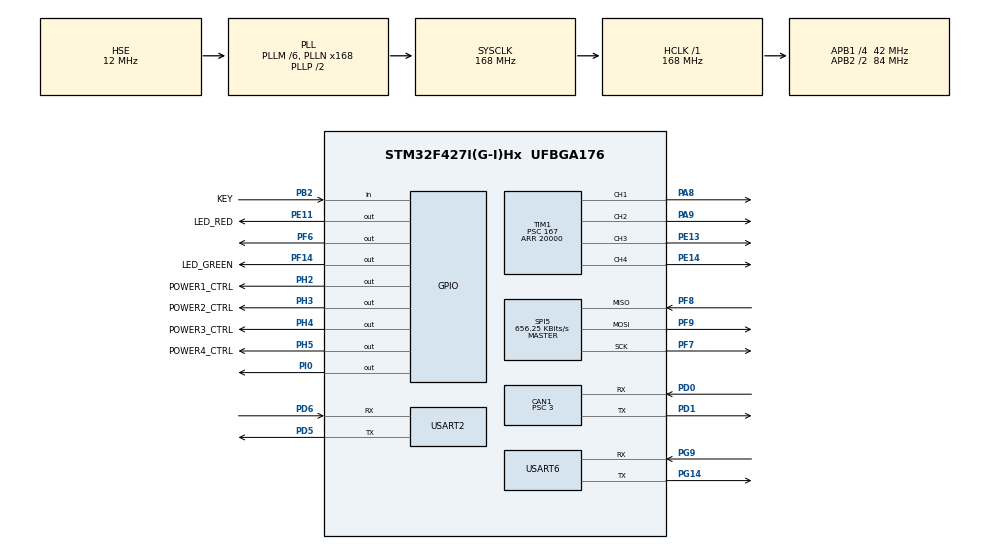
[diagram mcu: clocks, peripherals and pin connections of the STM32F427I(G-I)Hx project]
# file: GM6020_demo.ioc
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CAN1.ABOM=ENABLE
CAN1.BS1=CAN_BS1_9TQ
CAN1.BS2=CAN_BS2_4TQ
CAN1.CalculateTimeQuantum=71.42857142857143
CAN1.NART=DISABLE
CAN1.Prescaler=3
CAN1.SJW=CAN_SJW_1TQ
Dma.Request0=USART2_RX
Dma.Request1=USART2_TX
Dma.USART2_RX.0.Direction=DMA_PERIPH_TO_MEMORY
Dma.USART2_RX.0.FIFOMode=DMA_FIFOMODE_DISABLE
Dma.USART2_RX.0.Instance=DMA1_Stream5
Dma.USART2_RX.0.MemDataAlignment=DMA_MDATAALIGN_BYTE
Dma.USART2_RX.0.MemInc=DMA_MINC_ENABLE
Dma.USART2_RX.0.Mode=DMA_NORMAL
Dma.USART2_RX.0.PeriphDataAlignment=DMA_PDATAALIGN_BYTE
Dma.USART2_RX.0.PeriphInc=DMA_PINC_DISABLE
Dma.USART2_RX.0.Priority=DMA_PRIORITY_LOW
Dma.USART2_TX.1.Direction=DMA_MEMORY_TO_PERIPH
Dma.USART2_TX.1.FIFOMode=DMA_FIFOMODE_DISABLE
Dma.USART2_TX.1.Instance=DMA1_Stream6
Dma.USART2_TX.1.MemDataAlignment=DMA_MDATAALIGN_BYTE
Dma.USART2_TX.1.MemInc=DMA_MINC_ENABLE
Dma.USART2_TX.1.Mode=DMA_NORMAL
Dma.USART2_TX.1.PeriphDataAlignment=DMA_PDATAALIGN_BYTE
Dma.USART2_TX.1.PeriphInc=DMA_PINC_DISABLE
Dma.USART2_TX.1.Priority=DMA_PRIORITY_LOW
Mcu.Family=STM32F4
Mcu.Name=STM32F427I(G-I)Hx
Mcu.Package=UFBGA176
NVIC.CAN1_RX0_IRQn=true\:0\:0\:false\:false\:true\:true
NVIC.CAN1_TX_IRQn=true\:0\:0\:false\:false\:true\:true
NVIC.DMA1_Stream5_IRQn=true\:0\:0\:false\:false\:true\:false
NVIC.DMA1_Stream6_IRQn=true\:0\:0\:false\:false\:true\:false
NVIC.PriorityGroup=NVIC_PRIORITYGROUP_4
NVIC.TIM2_IRQn=true\:0\:0\:false\:false\:true\:true
NVIC.TIM3_IRQn=true\:0\:0\:false\:false\:true\:true
NVIC.USART2_IRQn=true\:0\:0\:false\:false\:true\:true
NVIC.USART6_IRQn=true\:0\:0\:false\:false\:true\:true
PA13.Mode=Serial_Wire
PA13.Signal=SYS_JTMS-SWDIO
PA14.Mode=Serial_Wire
PA14.Signal=SYS_JTCK-SWCLK
PA8.Signal=S_TIM1_CH1
PA9.Signal=S_TIM1_CH2
PB2/BOOT1.GPIO_Label=KEY
PB2/BOOT1.Signal=GPIO_Input
PD0.Mode=Master
PD0.Signal=CAN1_RX
PD1.Mode=Master
PD1.Signal=CAN1_TX
PD5.Mode=Asynchronous
PD5.Signal=USART2_TX
PD6.Mode=Asynchronous
PD6.Signal=USART2_RX
PE11.GPIO_Label=LED_RED
PE11.Signal=GPIO_Output
PE13.Signal=S_TIM1_CH3
PE14.Signal=S_TIM1_CH4
PF14.GPIO_Label=LED_GREEN
PF14.Signal=GPIO_Output
PF6.Signal=GPIO_Output
PF7.Mode=Full_Duplex_Master
PF7.Signal=SPI5_SCK
PF8.Mode=Full_Duplex_Master
PF8.Signal=SPI5_MISO
PF9.Mode=Full_Duplex_Master
PF9.Signal=SPI5_MOSI
PG14.Mode=Asynchronous
PG14.Signal=USART6_TX
PG9.Mode=Asynchronous
PG9.Signal=USART6_RX
PH0/OSC_IN.Mode=HSE-External-Oscillator
PH0/OSC_IN.Signal=RCC_OSC_IN
PH1/OSC_OUT.Mode=HSE-External-Oscillator
PH1/OSC_OUT.Signal=RCC_OSC_OUT
PH2.GPIO_Label=POWER1_CTRL
PH2.Signal=GPIO_Output
PH3.GPIO_Label=POWER2_CTRL
PH3.Signal=GPIO_Output
PH4.GPIO_Label=POWER3_CTRL
PH4.Signal=GPIO_Output
PH5.GPIO_Label=POWER4_CTRL
PH5.Signal=GPIO_Output
PI0.GPIO_Speed=GPIO_SPEED_FREQ_HIGH
PI0.Signal=GPIO_Output
ProjectManager.HeapSize=0x200
ProjectManager.StackSize=0x400
ProjectManager.TargetToolchain=MDK-ARM V5
RCC.48MHZClocksFreq_Value=84000000
RCC.AHBFreq_Value=168000000
RCC.APB1CLKDivider=RCC_HCLK_DIV4
RCC.APB1Freq_Value=42000000
RCC.APB1TimFreq_Value=84000000
RCC.APB2CLKDivider=RCC_HCLK_DIV2
RCC.APB2Freq_Value=84000000
RCC.APB2TimFreq_Value=168000000
RCC.CortexFreq_Value=168000000
RCC.HCLKFreq_Value=168000000
RCC.HSE_VALUE=12000000
RCC.HSI_VALUE=16000000
RCC.LSE_VALUE=32768
RCC.PLLM=6
RCC.PLLN=168
RCC.PLLSourceVirtual=RCC_PLLSOURCE_HSE
RCC.SYSCLKFreq_VALUE=168000000
RCC.SYSCLKSource=RCC_SYSCLKSOURCE_PLLCLK
RCC.VCOOutputFreq_Value=336000000
SH.S_TIM1_CH1.0=TIM1_CH1,PWM Generation1 CH1
SH.S_TIM1_CH2.0=TIM1_CH2,PWM Generation2 CH2
SH.S_TIM1_CH3.0=TIM1_CH3,PWM Generation3 CH3
SH.S_TIM1_CH4.0=TIM1_CH4,PWM Generation4 CH4
SPI5.BaudRatePrescaler=SPI_BAUDRATEPRESCALER_128
SPI5.CalculateBaudRate=656.25 KBits/s
SPI5.Direction=SPI_DIRECTION_2LINES
SPI5.Mode=SPI_MODE_MASTER
SPI5.VirtualType=VM_MASTER
TIM1.Channel-PWM\ Generation1\ CH1=TIM_CHANNEL_1
TIM1.Channel-PWM\ Generation2\ CH2=TIM_CHANNEL_2
TIM1.Channel-PWM\ Generation3\ CH3=TIM_CHANNEL_3
TIM1.Channel-PWM\ Generation4\ CH4=TIM_CHANNEL_4
TIM1.Period=20000
TIM1.Prescaler=167
TIM1.Pulse-PWM\ Generation1\ CH1=1000
TIM1.Pulse-PWM\ Generation2\ CH2=1000
TIM1.Pulse-PWM\ Generation3\ CH3=1000
TIM1.Pulse-PWM\ Generation4\ CH4=1000
TIM2.Period=1000-1
TIM2.Prescaler=84-1
TIM3.Period=1000-1
TIM3.Prescaler=84-1
USART2.VirtualMode=VM_ASYNC
USART6.VirtualMode=VM_ASYNC
VP_TIM2_VS_ClockSourceINT.Mode=Internal
VP_TIM3_VS_ClockSourceINT.Mode=Internal
board=PWM

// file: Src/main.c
/* USER CODE BEGIN Header */
/**
  ******************************************************************************
  * @file           : main.c
  * @brief          : Main program body
  ******************************************************************************
  ** This notice applies to any and all portions of this file
  * that are not between comment pairs USER CODE BEGIN and
  * USER CODE END. Other portions of this file, whether
  * inserted by the user or by software development tools
  * are owned by their respective copyright owners.
  *
  * COPYRIGHT(c) 2018 STMicroelectronics
  *
  * Redistribution and use in source and binary forms, with or without modification,
  * are permitted provided that the following conditions are met:
  *   1. Redistributions of source code must retain the above copyright notice,
  *      this list of conditions and the following disclaimer.
  *   2. Redistributions in binary form must reproduce the above copyright notice,
  *      this list of conditions and the following disclaimer in the documentation
  *      and/or other materials provided with the distribution.
  *   3. Neither the name of STMicroelectronics nor the names of its contributors
  *      may be used to endorse or promote products derived from this software
  *      without specific prior written permission.
  *
  * THIS SOFTWARE IS PROVIDED BY THE COPYRIGHT HOLDERS AND CONTRIBUTORS "AS IS"
  * AND ANY EXPRESS OR IMPLIED WARRANTIES, INCLUDING, BUT NOT LIMITED TO, THE
  * IMPLIED WARRANTIES OF MERCHANTABILITY AND FITNESS FOR A PARTICULAR PURPOSE ARE
  * DISCLAIMED. IN NO EVENT SHALL THE COPYRIGHT HOLDER OR CONTRIBUTORS BE LIABLE
  * FOR ANY DIRECT, INDIRECT, INCIDENTAL, SPECIAL, EXEMPLARY, OR CONSEQUENTIAL
  * DAMAGES (INCLUDING, BUT NOT LIMITED TO, PROCUREMENT OF SUBSTITUTE GOODS OR
  * SERVICES; LOSS OF USE, DATA, OR PROFITS; OR BUSINESS INTERRUPTION) HOWEVER
  * CAUSED AND ON ANY THEORY OF LIABILITY, WHETHER IN CONTRACT, STRICT LIABILITY,
  * OR TORT (INCLUDING NEGLIGENCE OR OTHERWISE) ARISING IN ANY WAY OUT OF THE USE
  * OF THIS SOFTWARE, EVEN IF ADVISED OF THE POSSIBILITY OF SUCH DAMAGE.
  *
  ******************************************************************************
  */
/* USER CODE END Header */

#include "main.h"
#include "can.h"
#include "dma.h"
#include "spi.h"
#include "tim.h"
#include "usart.h"
#include "gpio.h"

/* USER CODE BEGIN Includes */
#include "bsp_key.h"
#include "bsp_led.h"
#include "bsp_can.h"
#include "bsp_pwm.h"
#include "pid.h"
#include "bsp_imu.h"
/* USER CODE END Includes */

/* USER CODE BEGIN PV */

//extern UART_HandleTypeDef huart2;
extern imu_t imu;
char buf[300];

// feedback information of motors and system
extern moto_info_t motor_info[2];
float motor_angle_rad[2] = {0, 0};
float prev_motor_angle_rad[2] = {0, 0};  // because motor_angle_rad is only in 0- 2PI, so in order to
																// use it to control the system properly,  have to detect change
float modified_motor_angle_rad[2] = {0, 0};
float motor_velocity_rads[2] = {0, 0};
float recorded_init_pose[2] = {0, 0};   // very important for continuous swing
int swingRound[] = {0, 0};

// target control actions, be very careful about the rotation direction of the motors
float target_angle_rad[2] = {0, 0};
float target_velocity_rads[2] = {0, 0};
float target_current[2] = {0, 0};
int16_t target_voltage[2] = {0, 0};

// motor control PIDs
pid_struct_t motor_angle_pid[2];
pid_struct_t motor_velocity_pid[2];
pid_struct_t motor_current_pid[2];

// PIDs for moving to init swing position
pid_struct_t init_motor_angle_pid[2];
pid_struct_t init_motor_velocity_pid[2];
pid_struct_t init_motor_current_pid[2];

// TODO: put these in a separate file
// simple position trajectory, this is used in ctrl_mode 3
// in these trajectories, state is [q, qdot] (angle and angular velocity)
// for this simpel trajectory, it is initialized in the traj.h
//float Tf = 0.66f; // use 2 seconds to finish this trajectory

float aux_traj_Tf = 3.0f;  // the time to execute init pose auxiluary trajectory

float left_start_state[2];   //
float left_end_state[2];     //
float left_state_angle[stepNum+1];
float left_state_velocity[stepNum+1];

float right_start_state[2];   //
float right_end_state[2];     //
float right_state_angle[stepNum+1];
float right_state_velocity[stepNum+1];

//// record data pool for debug
float left_real_pos[301];
float right_real_pos[301];
float left_real_vel[301];
float right_real_vel[301];
bool acked  = true;
uint16_t packIndex = 0;
////

extern Trajectory traj;
extern Trajectory aux_traj;

// init simple trajectory
float tgt_state[2] = {0,0};
float tgt_velocity[2];
float dt = 0.001f; // the time between each loop run
float traj_timer = 0.0f;
uint16_t traj_start = 0;
int traj_count = 0;

/// mode selection flags
/// mode selection flags
RobotControl robot_control = { 	.debug_print = 0, .ctrl_mode = 0, .output_enable = 0,
																.pwm_pulse_left = 1500, .pwm_pulse_right = 1500, .acked = 1,
																.ctrl_side = 1, .ctrl_direction = 0,
																.traj_start_delay = 60, .closeTimePercent = 0.95f, .Tf = 0.66, .traj_offset = 0.0};

/// mode selection flags
/// mode selection flags

uint16_t count = 0;
//uint16_t pwm_pulse_left = 1500;  // default pwm pulse width:1080~1920
//uint16_t pwm_pulse_right = 1500;  // default pwm pulse width:1080~1920
/* Private variables ---------------------------------------------------------*/
//bluetooth message buffer
uint8_t aTxStartMessage[] = "\r\n******Init Done. Program start to receive command.******\r\n";
uint8_t aRxBuffer[RxBufferSize];
uint8_t *head = aRxBuffer;
uint8_t *tail = aRxBuffer;
/* USER CODE END PV */

void SystemClock_Config(void);

/* USER CODE BEGIN 0 */
void init_simple_trajectory(int motor_idx, float T_curr, float tgt_state[],
														float state_angle[], float state_velocity[])
{
	float curr_angle, curr_velocity;
	float dt = T_curr/stepNum;
	if (motor_idx == 0) // left
	{
		curr_angle = modified_motor_angle_rad[0];
		curr_velocity = motor_velocity_rads[0];
	}
	else // right
	{
		curr_angle = modified_motor_angle_rad[1];
		curr_velocity = motor_velocity_rads[1];
	}
	state_angle[0] = curr_angle;
	state_velocity[0] = curr_velocity;
	for (int i = 1; i < stepNum; i++)
	{
		state_angle[i] = state_angle[0] + (float)i/stepNum*(tgt_state[0] - state_angle[0]);

		state_velocity[i] = 0.6f*(state_angle[i] - state_angle[i-1])/dt + 0.4f*state_velocity[i-1];
	}
	state_angle[stepNum] = tgt_state[0];
	state_velocity[stepNum] = tgt_state[1];
}

void init_test_swing_trajectory(int motor_idx, float Tf, float state_angle[], float state_velocity[])
{
	float curr_angle, curr_velocity, tgt_angle, tgt_velocity;
	float dt = Tf/stepNum;
	if (motor_idx == 0) // left
	{
		curr_angle = modified_motor_angle_rad[0];
		tgt_angle = modified_motor_angle_rad[0];
		curr_velocity = 0.0f;
		tgt_velocity = 0.0f;
	}
	else // right
	{
		curr_angle = -90.0f/180.0f*PI;
		tgt_angle = -(90.0f+90.0f+90.0f)/180.0f*PI;
		curr_velocity = 0.0f;
		tgt_velocity = 0.0f;
	}
	state_angle[0] = curr_angle;
	state_velocity[0] = curr_velocity;
	for (int i = 1; i < stepNum; i++)
	{
		state_angle[i] = state_angle[0] + (float)i/stepNum*(tgt_angle - state_angle[0]);

		state_velocity[i] = 0.6f*(state_angle[i] - state_angle[i-1])/dt + 0.4f*state_velocity[i-1];
	}
	state_angle[stepNum] = tgt_angle;
	state_velocity[stepNum] = tgt_velocity;
}
/* USER CODE END 0 */

int main(void)
{

  /* MCU Configuration--------------------------------------------------------*/

  /* Reset of all peripherals, Initializes the Flash interface and the Systick. */
  HAL_Init();

  /* Configure the system clock */
  SystemClock_Config();

  /* Initialize all configured peripherals */
  MX_GPIO_Init();
  MX_DMA_Init();
  MX_CAN1_Init();
  MX_TIM1_Init();
  MX_SPI5_Init();
  MX_USART2_UART_Init();
  MX_USART6_UART_Init();
  MX_TIM2_Init();
  MX_TIM3_Init();
  /* USER CODE BEGIN 2 */

	// tim2 enable interupt
	HAL_TIM_Base_Start_IT(&htim2);
	HAL_TIM_Base_Start_IT(&htim3);

	// imu setup
	mpu_device_init();
	init_quaternion();

	// motor setup
  HAL_GPIO_WritePin(GPIOH, POWER1_CTRL_Pin|POWER2_CTRL_Pin|POWER3_CTRL_Pin|POWER4_CTRL_Pin, GPIO_PIN_SET); // switch on 24v power
  pwm_init();                              // start pwm output
  can_user_init(&hcan1);                   // config can filter, start can

	// PID setup
  pid_init(&motor_angle_pid[0], 410, 0.0001, 0.01, 200, 800);       //init pid parameter, kp=38, ki=0.001, kd=0.5, output limit = 200rads
  pid_init(&motor_angle_pid[1], 410, 0.0001, 0.01, 200, 800);       //init pid parameter, kp=38, ki=0.001, kd=0.5, output limit = 200rads
  pid_init(&motor_velocity_pid[0], 8, 0.00001, 0.06, 125, 700); //init pid parameter, kp=7, ki=3, kd=0.06, output limit = 30000
  pid_init(&motor_velocity_pid[1], 8, 0.00001, 0.06, 125, 700); //init pid parameter, kp=7, ki=3, kd=0.06, output limit = 30000
  pid_init(&motor_current_pid[0], 160, 0.001, 0.06, 20000, 30000); //init pid parameter, kp=1000, ki=3, kd=0.06, output limit = 30000
  pid_init(&motor_current_pid[1], 160, 0.001, 0.06, 20000, 30000); //init pid parameter, kp=1000, ki=3, kd=0.06, output limit = 30000

	// PID setup
  pid_init(&init_motor_angle_pid[0], 200, 0.000001, 0.06, 125, 700);       //init pid parameter, kp=38, ki=0.001, kd=0.5, output limit = 200rads
  pid_init(&init_motor_angle_pid[1], 200, 0.000001, 0.06, 125, 700);       //init pid parameter, kp=38, ki=0.001, kd=0.5, output limit = 200rads
  pid_init(&init_motor_velocity_pid[0], 8, 0.0, 0.06, 125, 700); //init pid parameter, kp=7, ki=3, kd=0.06, output limit = 30000
  pid_init(&init_motor_velocity_pid[1], 8, 0.0, 0.06, 125, 700); //init pid parameter, kp=7, ki=3, kd=0.06, output limit = 30000
  pid_init(&init_motor_current_pid[0], 160, 0.0, 0.06, 20000, 30000); //init pid parameter, kp=1000, ki=3, kd=0.06, output limit = 30000
  pid_init(&init_motor_current_pid[1], 160, 0.0, 0.06, 20000, 30000); //init pid parameter, kp=1000, ki=3, kd=0.06, output limit = 30000

	// end of setup, set uart to send start message and start listening
	HAL_UART_Receive_DMA(&huart2,aRxBuffer,14);
  HAL_UART_Transmit_DMA(&huart2,aTxStartMessage,sizeof(aTxStartMessage));

  /* USER CODE END 2 */

  /* Infinite loop */
  /* USER CODE BEGIN WHILE */
  while (1)
  {
		mpu_get_data();
		imu_ahrs_update();
		imu_attitude_update();
		// start control loop

		// 2019-04-03 test pwm
    /* set pwm pulse width */
		__HAL_TIM_SetCompare(&htim1, TIM_CHANNEL_1, robot_control.pwm_pulse_left);   // PA8
//		__HAL_TIM_SetCompare(&htim1, TIM_CHANNEL_2, pwm_pulse_right);
//		__HAL_TIM_SetCompare(&htim1, TIM_CHANNEL_3, pwm_pulse_left);
		__HAL_TIM_SetCompare(&htim1, TIM_CHANNEL_4, robot_control.pwm_pulse_right); //PE14

//		count++;
//		if (count == 500)
//		{
//			LED_RED_TOGGLE();
////			pwm_pulse_left += 380;
////			pwm_pulse_right -=380;
//			count = 0;
//		}
		// end control loop

    /* system delay 1ms */
    HAL_Delay(1);
    /* USER CODE END WHILE */

  }
}

void SystemClock_Config(void)
{
  RCC_OscInitTypeDef RCC_OscInitStruct = {0};
  RCC_ClkInitTypeDef RCC_ClkInitStruct = {0};

  /**Configure the main internal regulator output voltage
  */
  __HAL_RCC_PWR_CLK_ENABLE();
  __HAL_PWR_VOLTAGESCALING_CONFIG(PWR_REGULATOR_VOLTAGE_SCALE1);
  /**Initializes the CPU, AHB and APB busses clocks
  */
  RCC_OscInitStruct.OscillatorType = RCC_OSCILLATORTYPE_HSE;
  RCC_OscInitStruct.HSEState = RCC_HSE_ON;
  RCC_OscInitStruct.PLL.PLLState = RCC_PLL_ON;
  RCC_OscInitStruct.PLL.PLLSource = RCC_PLLSOURCE_HSE;
  RCC_OscInitStruct.PLL.PLLM = 6;
  RCC_OscInitStruct.PLL.PLLN = 168;
  RCC_OscInitStruct.PLL.PLLP = RCC_PLLP_DIV2;
  RCC_OscInitStruct.PLL.PLLQ = 4;
  if (HAL_RCC_OscConfig(&RCC_OscInitStruct) != HAL_OK)
  {
    Error_Handler();
  }
  /**Initializes the CPU, AHB and APB busses clocks
  */
  RCC_ClkInitStruct.ClockType = RCC_CLOCKTYPE_HCLK|RCC_CLOCKTYPE_SYSCLK
                              |RCC_CLOCKTYPE_PCLK1|RCC_CLOCKTYPE_PCLK2;
  RCC_ClkInitStruct.SYSCLKSource = RCC_SYSCLKSOURCE_PLLCLK;
  RCC_ClkInitStruct.AHBCLKDivider = RCC_SYSCLK_DIV1;
  RCC_ClkInitStruct.APB1CLKDivider = RCC_HCLK_DIV4;
  RCC_ClkInitStruct.APB2CLKDivider = RCC_HCLK_DIV2;

  if (HAL_RCC_ClockConfig(&RCC_ClkInitStruct, FLASH_LATENCY_5) != HAL_OK)
  {
    Error_Handler();
  }
}

/* USER CODE BEGIN 4 */
void HAL_TIM_PeriodElapsedCallback(TIM_HandleTypeDef *htim) {
	if (htim->Instance == htim2.Instance) {

//		sprintf(buf, "ctrl_mode %d \t angle1:%4.3f \t angle2:%4.3f \t whichBehind:%d \t direction:%d \t swing:%d\n",
//					robot_control.ctrl_mode, modified_motor_angle_rad[0], modified_motor_angle_rad[1], whichBehind(robot_control.ctrl_direction, modified_motor_angle_rad), robot_control.ctrl_direction, robot_control.ctrl_side);
//				HAL_UART_Transmit_DMA(&huart2, (uint8_t *)buf, (COUNTOF(buf)-1));

		switch (robot_control.debug_print) {
			case 0 : // print nothing
				break;

			case 1:
				sprintf(buf, "ctrl_mode %d \t ax: %d \t ay: %d \t az: %d\n", robot_control.ctrl_mode, imu.ax, imu.ay, imu.az);
				HAL_UART_Transmit_DMA(&huart2, (uint8_t *)buf, (COUNTOF(buf)-1));
				//				memset(buf, 0, sizeof(buf));
				break;

			case 2:
				sprintf(buf, "ctrl_mode %d \t angle1:%4.3f \t angle2:%4.3f \t vel1:%4.3f \t vel2:%4.3f crt1:%d \t crt2:%d \n",
					robot_control.ctrl_mode, modified_motor_angle_rad[0], modified_motor_angle_rad[1], motor_velocity_rads[0], motor_velocity_rads[1], motor_info[0].torque_current,motor_info[1].torque_current);
				HAL_UART_Transmit_DMA(&huart2, (uint8_t *)buf, (COUNTOF(buf)-1));
				//				memset(buf, 0, sizeof(buf));
				break;

			case 3:
				sprintf(buf, "ctrl_mode %d \t tgt_angle1:%4.3f \t tgt_angle2:%4.3f \t tgt_vel1:%4.3f \t tgt_vel2:%4.3f \t set_voltage1:%d \t set_voltage2:%d \n",
					robot_control.ctrl_mode, target_angle_rad[0], target_angle_rad[1], target_velocity_rads[0], target_velocity_rads[1], motor_info[0].set_voltage, motor_info[1].set_voltage);
				HAL_UART_Transmit_DMA(&huart2, (uint8_t *)buf, (COUNTOF(buf)-1));
				//				memset(buf, 0, sizeof(buf));
				break;

			case 4: { // send out data in every 1ms
				if(robot_control.acked) {
					if(packIndex<300){
						Serial_struct dataPack = pack(50, 0, (int32_t)(left_real_pos[packIndex]*1000), (int32_t)(left_real_vel[packIndex]*1000));
						HAL_UART_Transmit(&huart2, (uint8_t*)&dataPack, sizeof(dataPack), 100);

					}else if(packIndex<600) {
						Serial_struct dataPack = pack(50, 1, (int32_t)(right_real_pos[packIndex-300]*1000), (int32_t)(right_real_vel[packIndex-300]*1000));
						HAL_UART_Transmit(&huart2, (uint8_t*)&dataPack, sizeof(dataPack), 100);

					}else if(packIndex >= 600) {
						Serial_struct finishPack = pack(52, 0, 0, 0);
						HAL_UART_Transmit(&huart2, (uint8_t*)&finishPack, sizeof(finishPack), 100);
						robot_control.debug_print = 0;
						packIndex = 0;
					}
					robot_control.acked = 0; // set zero to wait for ack
					LED_RED_TOGGLE();
				}
				break;
			}
			default:
				; // to remove warning
				Serial_struct data = {0xAA, 1, 6377, 1, 1};

				// do crc
				uint16_t crc_ccitt_ffff_val = 0xffff;
				uint8_t* ptr = (uint8_t *) &data;
				int i;
				for(i = 0; i<12; i++) { // do crc with the first 12 uint8
					crc_ccitt_ffff_val = update_crc_ccitt(crc_ccitt_ffff_val, *ptr);
					ptr++;
				}

				data.crc = crc_ccitt_ffff_val;

				//HAL_UART_Transmit_DMA(&huart2, (uint8_t*)&data, sizeof(data));
				break;
		}
	}

	if (htim->Instance == htim3.Instance) { // 1ms trig for control

		switch (robot_control.ctrl_mode) {
			case 0 :
				break;
			case 1 : {
				/* motor speed pid calc ID1 ID1 ID1 ID1 ID1 ID1 ID1 ID1*/
				target_velocity_rads[0] = pid_calc(&motor_angle_pid[0], target_angle_rad[0], motor_angle_rad[0]);
				motor_info[0].set_voltage = pid_calc(&motor_velocity_pid[0], target_velocity_rads[0], motor_velocity_rads[0]);
				/* motor speed pid calc ID2 ID2 ID2 ID2 ID2 ID2 ID2 ID2*/
				target_velocity_rads[1] = pid_calc(&motor_angle_pid[1], target_angle_rad[1], motor_angle_rad[1]);
				motor_info[1].set_voltage = pid_calc(&motor_velocity_pid[1], target_velocity_rads[1], motor_velocity_rads[1]);

				/* send motor control message through can bus*/
				if (robot_control.output_enable == 1)
				{
					set_motor_voltage(0,
						motor_info[0].set_voltage,
						motor_info[1].set_voltage);
				}
				traj_start = 0;
				break;
			}
			case 2 : {
				/* motor speed pid calc ID1 ID1 ID1 ID1 ID1 ID1 ID1 ID1*/
				motor_info[0].set_voltage = pid_calc(&motor_velocity_pid[0], target_velocity_rads[0], motor_velocity_rads[0]);
				/* motor speed pid calc ID2 ID2 ID2 ID2 ID2 ID2 ID2 ID2*/
				motor_info[1].set_voltage = pid_calc(&motor_velocity_pid[1], target_velocity_rads[1], motor_velocity_rads[1]);

				/* send motor control message through can bus*/
				if (robot_control.output_enable == 1)
				{
					set_motor_voltage(0,
						motor_info[0].set_voltage,
						motor_info[1].set_voltage);
				}
				break;
			}
			case 3 : {
				motor_info[0].set_voltage = target_voltage[0];
				motor_info[1].set_voltage = target_voltage[1];

				/* send motor control message through can bus*/
				if (robot_control.output_enable == 1)
				{
					set_motor_voltage(0,
						motor_info[0].set_voltage,
						motor_info[1].set_voltage);
				}
				break;
			}
			case 4 : {
				// first enter, should have traj_start = 0
				if (traj_start >= robot_control.traj_start_delay)  // a 60ms delay
				{
					// take waypoint from trajectory
					if (traj_timer > traj_count*robot_control.Tf/stepNum)
					{
						if (traj_count < stepNum)
						{
							traj_count++;
						}
						else
						{
							traj_timer = 0.0f; //robot_control.Tf;
							// after finish case 4, go to ctrl mode 6, standby
							robot_control.ctrl_mode = 6;

							// used to set init pos before execute traj
							if(robot_control.ctrl_direction == 0) // swing forward
							{
								if(robot_control.ctrl_side == 1) // swing right
									swingRound[1]++;
								else
									swingRound[0]++;
							}else{ // swing back
								if(robot_control.ctrl_side == 1) // swing right
									swingRound[1]--;
								else
									swingRound[0]--;
							}

							// start to send traj data to up
							traj_start = 0;
						}
					}

					/////////// get the correct trajectory to execute
					// all the setting here assumes the traj is for swing right arm forward
					if(robot_control.ctrl_direction == 0) // swing forward
					{
						if(robot_control.ctrl_side == 1) { // swing right hand
							// set left
							target_angle_rad[0] = traj.left_state_angle[traj_count] - traj.left_state_angle[0] + recorded_init_pose[0];
							target_velocity_rads[0] = traj.left_state_velocity[traj_count];
							// set right
							target_angle_rad[1] = traj.right_state_angle[traj_count] - traj.right_state_angle[0] + recorded_init_pose[1];
							target_velocity_rads[1] = traj.right_state_velocity[traj_count];
						} else {
							// set left, left use negative right traj
							target_angle_rad[0] = -(traj.right_state_angle[traj_count] - traj.right_state_angle[0]) + recorded_init_pose[0];
							target_velocity_rads[0] = -traj.right_state_velocity[traj_count];
							// set right, right use negative left traj
							target_angle_rad[1] = -(traj.left_state_angle[traj_count] - traj.left_state_angle[0]) + recorded_init_pose[1];
							target_velocity_rads[1] = -traj.left_state_velocity[traj_count];
						}
					} else { // swing backward
						if(robot_control.ctrl_side == 1) { // swing right hand
							// set left, left use negative left traj
							target_angle_rad[0] = -(traj.left_state_angle[traj_count] - traj.left_state_angle[0]) + recorded_init_pose[0];//traj.left_state_angle[traj_count];
							target_velocity_rads[0] = -traj.left_state_velocity[traj_count];
							// set right, right use negative right traj
							target_angle_rad[1] = -(traj.right_state_angle[traj_count] - traj.right_state_angle[0]) + recorded_init_pose[1];
							target_velocity_rads[1] = -traj.right_state_velocity[traj_count];
						} else { // swing left hand
							// set left, left use positive right traj
							target_angle_rad[0] = traj.right_state_angle[traj_count] - traj.right_state_angle[0] + recorded_init_pose[0];
							target_velocity_rads[0] = traj.right_state_velocity[traj_count];
							// set right, right use positive left traj
							target_angle_rad[1] = traj.left_state_angle[traj_count] - traj.left_state_angle[0] + recorded_init_pose[1];
							target_velocity_rads[1] = traj.left_state_velocity[traj_count];
						}
					}
					///////////////

					/* motor speed pid calc ID1 ID1 ID1 ID1 ID1 ID1 ID1 ID1*/
					tgt_velocity[0] = pid_calc(&motor_angle_pid[0], target_angle_rad[0], modified_motor_angle_rad[0]);
					target_current[0] = pid_calc(&motor_velocity_pid[0], tgt_velocity[0]+target_velocity_rads[0], motor_velocity_rads[0]);
					motor_info[0].set_voltage = pid_calc(&motor_current_pid[0], target_current[0], motor_info[0].torque_current/5700.0f);

					/* motor speed pid calc ID2 ID2 ID2 ID2 ID2 ID2 ID2 ID2*/
					tgt_velocity[1] = pid_calc(&motor_angle_pid[1], target_angle_rad[1], modified_motor_angle_rad[1]);
					target_current[1] = pid_calc(&motor_velocity_pid[1], tgt_velocity[1]+target_velocity_rads[1], motor_velocity_rads[1]);
					motor_info[1].set_voltage = pid_calc(&motor_current_pid[1], target_current[1], motor_info[1].torque_current/5700.0f);

					if(robot_control.ctrl_side == 1){
						// record left
						left_real_pos[traj_count] = modified_motor_angle_rad[0] - recorded_init_pose[0];
						left_real_vel[traj_count] = motor_velocity_rads[0];

						// record right
						right_real_pos[traj_count] = modified_motor_angle_rad[1] - recorded_init_pose[1];
						right_real_vel[traj_count] = motor_velocity_rads[1];

					}

//					if(left_real_vel[traj_count]>5 || left_real_vel[traj_count] <-5 || right_real_vel[traj_count]>5 || right_real_vel[traj_count] <-5){
//						robot_control.output_enable = 0;
//					}

					/* send motor control message through can bus*/
					if (robot_control.output_enable == 1)
					{
						set_motor_voltage(0,
							motor_info[0].set_voltage,
							motor_info[1].set_voltage);
					}

					traj_timer += dt;

					if (traj_timer > robot_control.Tf * robot_control.closeTimePercent) {
						if(robot_control.ctrl_side == 1) // swing right
							robot_control.pwm_pulse_right = 1500;
						else
							robot_control.pwm_pulse_left = 1500;
					}
				}
				else
				{
					traj_start++;
					traj_timer = 0.0f;
					traj_count = 0;
//					init_simple_trajectory(0, Tf, tgt_state, left_state_angle, left_state_velocity);
//					init_simple_trajectory(1, Tf, tgt_state, right_state_angle, right_state_velocity);
//					init_test_swing_trajectory(0, Tf, left_state_angle, left_state_velocity);
//					init_test_swing_trajectory(1, Tf, right_state_angle, right_state_velocity);

					// open right hand as a test step
					if(robot_control.ctrl_side == 1) // swing right
						robot_control.pwm_pulse_right = 1500+384;
					else
						robot_control.pwm_pulse_left = 1500-384;
				}
				break;
			}
			case 8: {
				// 03/24/2019
				// this is a intermediate stage, it is also exexutive trajectory, but this movement is just to prepare robot to execuate case 4
				// here a aux_traj is inited and used to control the robot
			  // first enter, should have traj_start = 0
				if (traj_start == 1)
				{
					// take waypoint from aux trajectory
					if (traj_timer > traj_count*aux_traj_Tf/stepNum)  //TODO: this time extract out
					{
						if (traj_count < stepNum)
						{
							traj_count++;
						}
						else
						{
							traj_timer = aux_traj_Tf;
							// after finish case 5, go to ctrl mode 6
							robot_control.ctrl_mode = 6;

							traj_start = 0;
							recorded_init_pose[0] = modified_motor_angle_rad[0];
							recorded_init_pose[1] = modified_motor_angle_rad[1];
						}
					}

					target_angle_rad[0] = aux_traj.left_state_angle[traj_count];
					target_velocity_rads[0] = aux_traj.left_state_velocity[traj_count];
					target_angle_rad[1] = aux_traj.right_state_angle[traj_count];
					target_velocity_rads[1] = aux_traj.right_state_velocity[traj_count];

					/* motor speed pid calc ID1 ID1 ID1 ID1 ID1 ID1 ID1 ID1*/
					tgt_velocity[0] = pid_calc(&init_motor_angle_pid[0], target_angle_rad[0], modified_motor_angle_rad[0]);
					target_current[0] = pid_calc(&init_motor_velocity_pid[0], tgt_velocity[0], motor_velocity_rads[0]);
					motor_info[0].set_voltage = pid_calc(&init_motor_current_pid[0], target_current[0], motor_info[0].torque_current/5700.0f);

					/* motor speed pid calc ID2 ID2 ID2 ID2 ID2 ID2 ID2 ID2*/
					tgt_velocity[1] = pid_calc(&init_motor_angle_pid[1], target_angle_rad[1], modified_motor_angle_rad[1]);
					target_current[1] = pid_calc(&init_motor_velocity_pid[1], tgt_velocity[1], motor_velocity_rads[1]);
					motor_info[1].set_voltage = pid_calc(&init_motor_current_pid[1], target_current[1], motor_info[1].torque_current/5700.0f);

					/* send motor control message through can bus*/
					if (robot_control.output_enable == 1)
					{
						set_motor_voltage(0,
							motor_info[0].set_voltage,
							motor_info[1].set_voltage);
					}

					traj_timer += dt;
				}
				else
				{
					traj_start = 1;
					traj_timer = 0.0f;
					traj_count = 0;

					/////////// get the correct init pose before trajectory
					// forward make right angle --, left angle ++
					// so after one right swing forward, right - 2Pi
					// after another left swing forward, left + 2Pi
					// if there's yet another right swing forward, right - 2Pi
					if(robot_control.ctrl_direction == 0) // swing forward
					{
						if(robot_control.ctrl_side == 1) { // swing right hand
							// set left hand
							tgt_state[0] = traj.left_state_angle[0] + 2*PI*swingRound[0]; // traj start angle + reference angle, ref recorded after each swing
							tgt_state[1] = traj.left_state_velocity[0];
							if (modified_motor_angle_rad[0] - tgt_state[0] < 180 && modified_motor_angle_rad[0] - tgt_state[0] > -180)
								init_simple_trajectory(0, aux_traj_Tf, tgt_state, aux_traj.left_state_angle, aux_traj.left_state_velocity);
							// set right hand
							tgt_state[0] = traj.right_state_angle[0] - 2*PI*swingRound[1];
							tgt_state[1] = traj.right_state_velocity[0];
							if (modified_motor_angle_rad[1] - tgt_state[1] < 180 && modified_motor_angle_rad[1] - tgt_state[1] > -180)
								init_simple_trajectory(1, aux_traj_Tf, tgt_state, aux_traj.right_state_angle, aux_traj.right_state_velocity);
						} else {
							// set left hand
							tgt_state[0] = -traj.right_state_angle[0] + 2*PI*swingRound[0];
							tgt_state[1] = -traj.right_state_velocity[0];
							if (modified_motor_angle_rad[0] - tgt_state[0] < 180 && modified_motor_angle_rad[0] - tgt_state[0] > -180)
								init_simple_trajectory(0, aux_traj_Tf, tgt_state, aux_traj.left_state_angle, aux_traj.left_state_velocity);
							// set right hand
							tgt_state[0] = -traj.left_state_angle[0] - 2*PI*swingRound[1];
							tgt_state[1] = -traj.left_state_velocity[0];
							if (modified_motor_angle_rad[1] - tgt_state[1] < 180 && modified_motor_angle_rad[1] - tgt_state[1] > -180)
								init_simple_trajectory(1, aux_traj_Tf, tgt_state, aux_traj.right_state_angle, aux_traj.right_state_velocity);
						}
					} else{ // swing backward

						if(robot_control.ctrl_side == 1) { // swing right hand
							// set left hand
							tgt_state[0] = -traj.left_state_angle[0]  + 2*PI*swingRound[0];
							tgt_state[1] = -traj.left_state_velocity[0];
							init_simple_trajectory(0, aux_traj_Tf, tgt_state, aux_traj.left_state_angle, aux_traj.left_state_velocity);
							// set right hand
							tgt_state[0] = -traj.right_state_angle[0] - 2*PI*swingRound[1];
							tgt_state[1] = -traj.right_state_velocity[0];
							init_simple_trajectory(1, aux_traj_Tf, tgt_state, aux_traj.right_state_angle, aux_traj.right_state_velocity);
						} else { // swing left hand
							// set left hand
							tgt_state[0] = traj.right_state_angle[0] + 2*PI*swingRound[0];
							tgt_state[1] = traj.right_state_velocity[0];
							init_simple_trajectory(0, aux_traj_Tf, tgt_state, aux_traj.left_state_angle, aux_traj.left_state_velocity);
							// set right hand
							tgt_state[0] = traj.left_state_angle[0] - 2*PI*swingRound[1];
							tgt_state[1] = traj.left_state_velocity[0];
							init_simple_trajectory(1, aux_traj_Tf, tgt_state, aux_traj.right_state_angle, aux_traj.right_state_velocity);
						}
					}
					///////////////

//					init_test_swing_trajectory(0, Tf, left_state_angle, left_state_velocity);
//					init_test_swing_trajectory(1, Tf, right_state_angle, right_state_velocity);
				}
				break;
			}
			case 6 : { // hold the motor with previous stage motor command
				/* motor speed pid calc ID1 ID1 ID1 ID1 ID1 ID1 ID1 ID1*/
				tgt_velocity[0] = pid_calc(&init_motor_angle_pid[0], target_angle_rad[0], modified_motor_angle_rad[0]);
				target_current[0] = pid_calc(&init_motor_velocity_pid[0], tgt_velocity[0], motor_velocity_rads[0]);
				motor_info[0].set_voltage = pid_calc(&init_motor_current_pid[0], target_current[0], motor_info[0].torque_current/5700.0f);

				/* motor speed pid calc ID2 ID2 ID2 ID2 ID2 ID2 ID2 ID2*/
				tgt_velocity[1] = pid_calc(&init_motor_angle_pid[1], target_angle_rad[1], modified_motor_angle_rad[1]);
				target_current[1] = pid_calc(&init_motor_velocity_pid[1], tgt_velocity[1], motor_velocity_rads[1]);
				motor_info[1].set_voltage = pid_calc(&init_motor_current_pid[1], target_current[1], motor_info[1].torque_current/5700.0f);

				/* send motor control message through can bus*/
				if (robot_control.output_enable == 1)
				{
					set_motor_voltage(0,
						motor_info[0].set_voltage,
						motor_info[1].set_voltage);
				}

				//robot_control.debug_print = 4;
				break;
			}
			case 9 : {
				// hold the motor with previous stage motor command for only 500ms
				/* motor speed pid calc ID1 ID1 ID1 ID1 ID1 ID1 ID1 ID1*/
				tgt_velocity[0] = pid_calc(&motor_angle_pid[0], target_angle_rad[0], modified_motor_angle_rad[0]);
				target_current[0] = pid_calc(&motor_velocity_pid[0], tgt_velocity[0], motor_velocity_rads[0]);
				motor_info[0].set_voltage = pid_calc(&motor_current_pid[0], target_current[0], motor_info[0].torque_current/5700.0f);

				/* motor speed pid calc ID2 ID2 ID2 ID2 ID2 ID2 ID2 ID2*/
				tgt_velocity[1] = pid_calc(&motor_angle_pid[1], target_angle_rad[1], modified_motor_angle_rad[1]);
				target_current[1] = pid_calc(&motor_velocity_pid[1], tgt_velocity[1], motor_velocity_rads[1]);
				motor_info[1].set_voltage = pid_calc(&motor_current_pid[1], target_current[1], motor_info[1].torque_current/5700.0f);

				/* send motor control message through can bus*/
				if (robot_control.output_enable == 1)
				{
					set_motor_voltage(0,
						motor_info[0].set_voltage,
						motor_info[1].set_voltage);
				}
				traj_count++;

				if (traj_count > 500) {
					robot_control.output_enable = 0;
				}
				break;
			}
			default :
				break;
		}
	}
}

/* USER CODE END 4 */

void Error_Handler(void)
{
	while(1)
	{
	}
}

/************************ (C) COPYRIGHT STMicroelectronics *****END OF FILE****/
